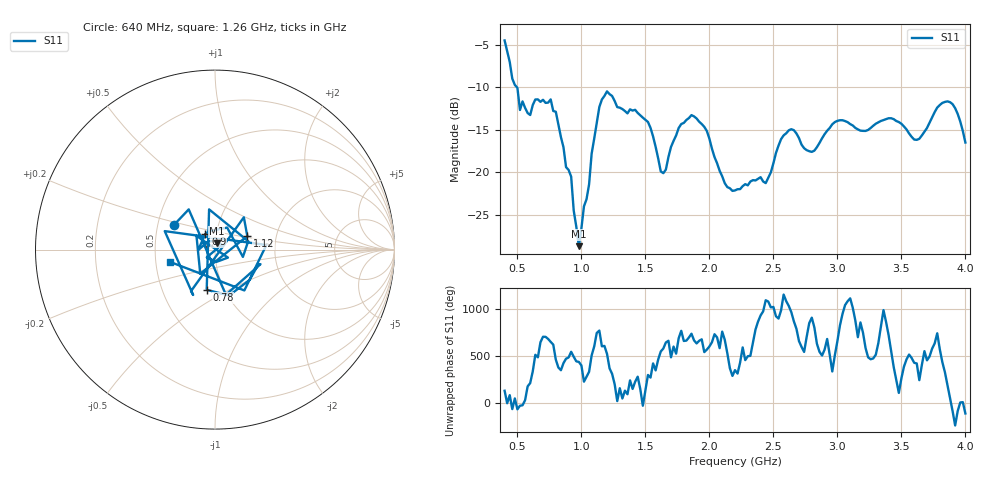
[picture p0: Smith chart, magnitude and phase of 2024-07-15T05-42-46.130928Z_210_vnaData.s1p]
!Created with skrf (http://scikit-rf.org).
# Hz S RI R 50.0
!freq ReS11 ImS11
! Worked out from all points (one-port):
!   181 points, 400 MHz to 4 GHz, reference 50 ohm
!   lowest |S11| = -28.7 dB at 980 MHz (marker M1), VSWR 1.08, Z = 50.9 + j3.6 ohm
!   |S11| at or under -10 dB: 494.9 MHz to end of sweep
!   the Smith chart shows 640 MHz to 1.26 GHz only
!   S11 on the Smith chart (normalised r, x): 640 MHz: 0.61, +0.18; 780 MHz: 0.83, -0.39; 900 MHz: 0.89, +0.16; 1.12 GHz: 1.42, +0.22; 1.26 GHz: 0.59, -0.09
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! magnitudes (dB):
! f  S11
! 400 MHz  -4.5
! 520 MHz  -12.7
! 640 MHz  -11.5
! 780 MHz  -12.8
! 860 MHz  -17.1
! 900 MHz  -19.7
! 920 MHz  -20.5
! 980 MHz  -28.7
! 1.12 GHz  -14.2
! 1.2 GHz  -10.5
! 1.26 GHz  -11.6
! 1.3 GHz  -12.4
! 1.52 GHz  -14.1
! 1.64 GHz  -20.1
! 1.76 GHz  -14.8
! 1.96 GHz  -14.7
! 2.12 GHz  -21.3
! 2.2 GHz  -22.1
! 2.44 GHz  -21.3
! 2.56 GHz  -16.1
! 2.66 GHz  -15.1
! 2.8 GHz  -17.6
! 2.98 GHz  -14.1
! 3.1 GHz  -14.3
! 3.56 GHz  -15.5
! 3.64 GHz  -16.1
! 3.86 GHz  -11.7
! 4 GHz  -16.5
